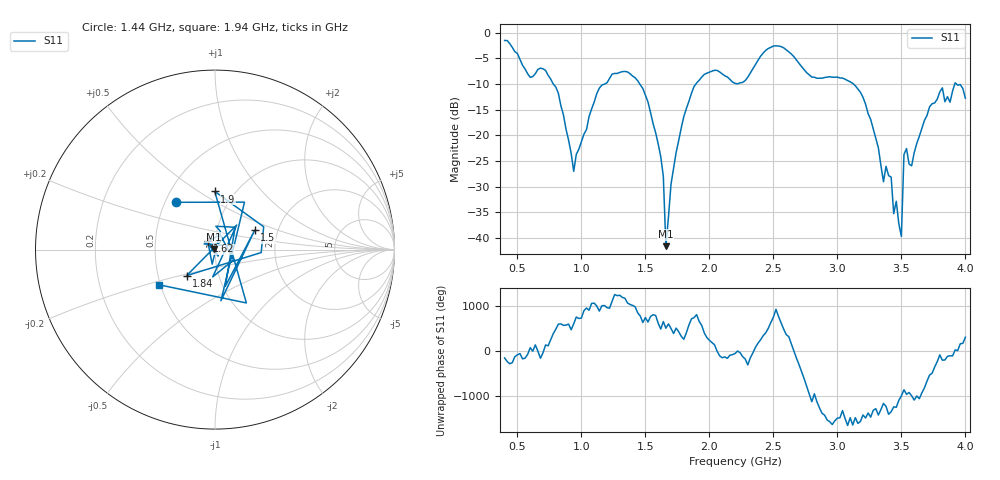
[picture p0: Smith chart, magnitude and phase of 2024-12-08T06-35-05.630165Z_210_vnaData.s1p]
!Created with skrf (http://scikit-rf.org).
# Hz S RI R 50.0
!freq ReS11 ImS11
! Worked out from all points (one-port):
!   181 points, 400 MHz to 4 GHz, reference 50 ohm
!   lowest |S11| = -41.6 dB at 1.66 GHz (marker M1), VSWR 1.02, Z = 49.3 + j0.408 ohm
!   |S11| at or under -10 dB: 781.1 MHz to 1.18 GHz (398.6 MHz wide, 40.7 % of centre); 1.456 GHz to 1.894 GHz (437.3 MHz wide, 26.1 % of centre); 3.126 GHz to 3.917 GHz (790.2 MHz wide, 22.4 % of centre) (the widest 3 of 4)
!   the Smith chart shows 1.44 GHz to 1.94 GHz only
!   S11 on the Smith chart (normalised r, x): 1.44 GHz: 0.57, +0.34; 1.5 GHz: 1.52, +0.35; 1.62 GHz: 0.92, +0.09; 1.84 GHz: 0.70, -0.21; 1.9 GHz: 0.81, +0.59; 1.94 GHz: 0.49, -0.22
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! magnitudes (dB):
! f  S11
! 400 MHz  -1.5
! 720 MHz  -7.3
! 860 MHz  -16.0
! 940 MHz  -27.0
! 1.12 GHz  -11.9
! 1.3 GHz  -7.7
! 1.44 GHz  -9.3
! 1.5 GHz  -12.2
! 1.62 GHz  -24.1
! 1.64 GHz  -28.0
! 1.66 GHz  -41.6
! 1.76 GHz  -21.0
! 1.84 GHz  -13.3
! 1.9 GHz  -9.8
! 1.94 GHz  -8.6
! 2.2 GHz  -9.8
! 2.66 GHz  -4.6
! 3.1 GHz  -9.6
! 3.26 GHz  -16.9
! 3.36 GHz  -29.0
! 3.42 GHz  -28.1
! 3.44 GHz  -35.2
! 3.46 GHz  -32.8
! 3.5 GHz  -39.7
! 3.52 GHz  -23.7
! 3.56 GHz  -25.6
! 3.82 GHz  -10.7
! 4 GHz  -12.7
